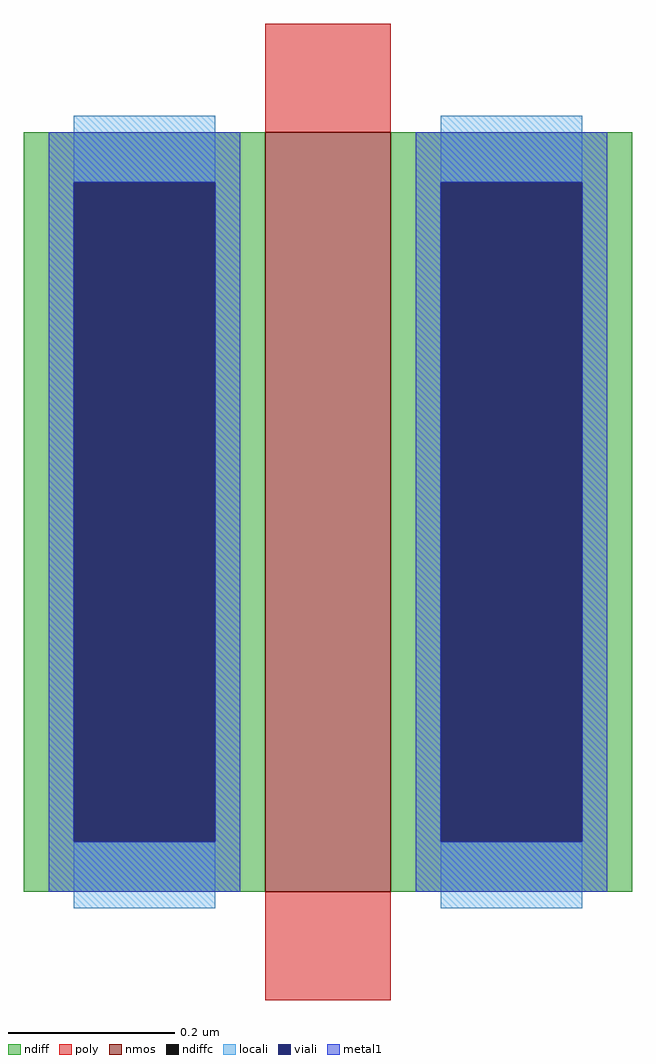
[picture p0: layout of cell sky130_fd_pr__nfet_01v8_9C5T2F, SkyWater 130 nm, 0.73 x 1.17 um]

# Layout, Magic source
magic
tech sky130A
magscale 1 2
<< nmos >>
rect -15 -91 15 91
<< ndiff >>
rect -73 79 -15 91
rect -73 -79 -61 79
rect -27 -79 -15 79
rect -73 -91 -15 -79
rect 15 79 73 91
rect 15 -79 27 79
rect 61 -79 73 79
rect 15 -91 73 -79
<< ndiffc >>
rect -61 -79 -27 79
rect 27 -79 61 79
<< poly >>
rect -15 91 15 117
rect -15 -117 15 -91
<< locali >>
rect -61 79 -27 95
rect -61 -95 -27 -79
rect 27 79 61 95
rect 27 -95 61 -79
<< viali >>
rect -61 -79 -27 79
rect 27 -79 61 79
<< metal1 >>
rect -67 79 -21 91
rect -67 -79 -61 79
rect -27 -79 -21 79
rect -67 -91 -21 -79
rect 21 79 67 91
rect 21 -79 27 79
rect 61 -79 67 79
rect 21 -91 67 -79
<< properties >>
string gencell sky130_fd_pr__nfet_01v8
string library sky130
string parameters w 0.91 l 0.15 m 1 nf 1 diffcov 100 polycov 100 guard 0 glc 1 grc 1 gtc 1 gbc 1 tbcov 100 rlcov 100 topc 0 botc 0 poverlap 0 doverlap 1 lmin 0.15 wmin 0.42 compatible {sky130_fd_pr__nfet_01v8 sky130_fd_pr__nfet_01v8_lvt  sky130_fd_bs_flash__special_sonosfet_star  sky130_fd_pr__nfet_g5v0d10v5 sky130_fd_pr__nfet_05v0_nvt  sky130_fd_pr__nfet_03v3_nvt} full_metal 0 viasrc 100 viadrn 100 viagate 100 viagb 0 viagr 0 viagl 0 viagt 0
<< end >>
